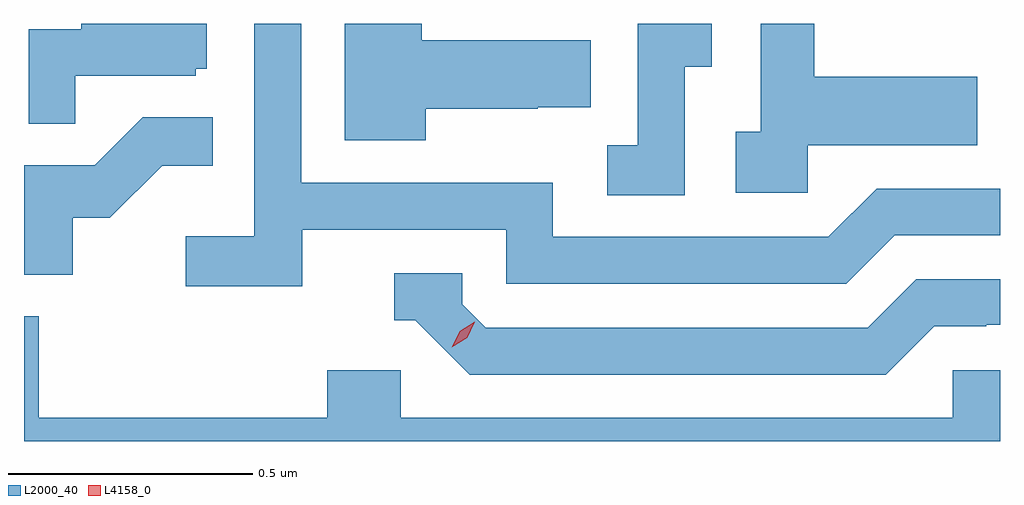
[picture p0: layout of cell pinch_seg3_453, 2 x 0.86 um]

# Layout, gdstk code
import gdstk
lib = gdstk.Library(unit=1e-6, precision=1e-09)
def P(c, l, *ps):  # polygons
    for p in ps: c.add(gdstk.Polygon(p, *l))
L2000_40 = (2000, 40)
L4158_0 = (4158, 0)

pinch_seg3_453 = lib.new_cell('pinch_seg3_453')
P(pinch_seg3_453, L2000_40, [(923.606,666.834),(924.024,666.834),(924.024,666.723),(924.721,666.723),(924.82,666.822),(925.036,666.822),(925.036,666.918),(924.783,666.918),(924.684,666.819),(924.12,666.819),(924.12,666.93),(923.604,666.93),(923.604,667.256),(923.508,667.256),(923.508,666.82),(923.367,666.82),(923.367,666.718),(923.606,666.718)],
  [(924.39,667.168),(924.445,667.168),(924.445,667.256),(924.294,667.256),(924.294,667.007),(924.231,667.007),(924.231,666.904),(924.39,666.904)],
  [(923.859,667.082),(924.089,667.082),(924.089,667.085),(924.197,667.085),(924.197,667.222),(923.851,667.222),(923.851,667.256),(923.693,667.256),(923.693,667.017),(923.859,667.017)],
  [(923.141,667.149),(923.388,667.149),(923.388,667.164),(923.41,667.164),(923.41,667.256),(923.153,667.256),(923.153,667.245),(923.046,667.245),(923.046,667.051),(923.141,667.051)],
  [(924.642,667.007),(924.989,667.007),(924.989,667.147),(924.655,667.147),(924.655,667.256),(924.546,667.256),(924.546,667.034),(924.495,667.034),(924.495,666.909),(924.642,666.909)],
  [(923.136,666.858),(923.212,666.858),(923.319,666.965),(923.423,666.965),(923.423,667.064),(923.279,667.064),(923.181,666.966),(923.037,666.966),(923.037,666.837),(923.036,666.837),(923.036,666.741),(923.136,666.741)],
  [(924.901,666.636),(925.008,666.636),(925.008,666.639),(925.036,666.639),(925.036,666.732),(924.864,666.732),(924.765,666.633),(923.982,666.633),(923.934,666.681),(923.934,666.744),(923.795,666.744),(923.795,666.648),(923.838,666.648),(923.949,666.537),(924.802,666.537)],
  [(925.036,666.546),(924.939,666.546),(924.939,666.448),(923.808,666.448),(923.808,666.546),(923.657,666.546),(923.657,666.448),(923.066,666.448),(923.066,666.656),(923.036,666.656),(923.036,666.4),(925.036,666.4)])
P(pinch_seg3_453, L4158_0, [(923.913,666.593),(923.913,666.593),(923.929,666.626),(923.96,666.645),(923.96,666.645),(923.96,666.645),(923.944,666.612),(923.913,666.593)])

lib.write_gds('pinch_seg3_453.gds')
